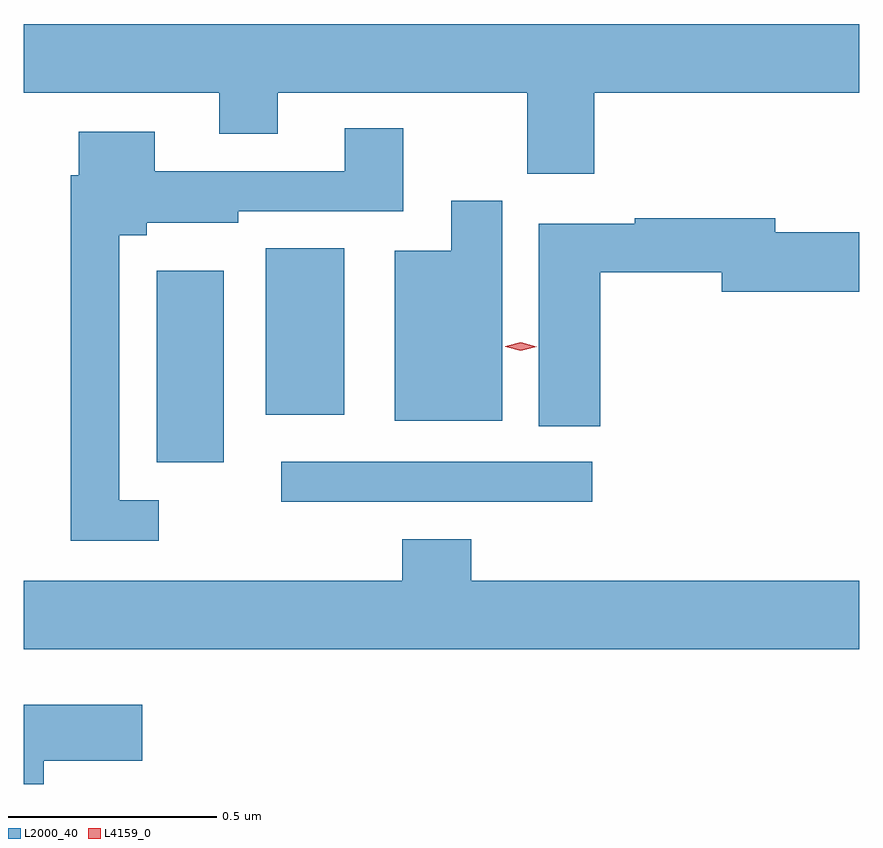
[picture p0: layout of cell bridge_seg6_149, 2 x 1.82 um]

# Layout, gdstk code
import gdstk
lib = gdstk.Library(unit=1e-6, precision=1e-09)
def R(c, l, rs):  # rectangles x0, y0, x1, y1
    for r in rs: c.add(gdstk.rectangle(r[:2], r[2:], *l))
def P(c, l, *ps):  # polygons
    for p in ps: c.add(gdstk.Polygon(p, *l))
L2000_40 = (2000, 40)
L4159_0 = (4159, 0)

bridge_seg6_149 = lib.new_cell('bridge_seg6_149')
R(bridge_seg6_149, L2000_40, [(610.509,963.672,611.254,963.768), (610.211,963.767,610.372,964.225), (610.472,963.881,610.66,964.279)])
P(bridge_seg6_149, L2000_40, [(609.893,964.652),(610.361,964.652),(610.361,964.553),(610.501,964.553),(610.501,964.652),(611.098,964.652),(611.098,964.458),(611.258,964.458),(611.258,964.652),(611.893,964.652),(611.893,964.816),(609.893,964.816)],
  [(610.216,963.676),(610.122,963.676),(610.122,964.31),(610.188,964.31),(610.188,964.34),(610.407,964.34),(610.407,964.368),(610.801,964.368),(610.801,964.567),(610.661,964.567),(610.661,964.464),(610.207,964.464),(610.207,964.558),(610.025,964.558),(610.025,964.454),(610.006,964.454),(610.006,963.579),(610.216,963.579)],
  [(611.038,964.393),(610.916,964.393),(610.916,964.273),(610.781,964.273),(610.781,963.866),(611.038,963.866)],
  [(611.273,964.222),(611.564,964.222),(611.564,964.175),(611.893,964.175),(611.893,964.317),(611.692,964.317),(611.692,964.351),(611.356,964.351),(611.356,964.338),(611.126,964.338),(611.126,963.853),(611.273,963.853)],
  [(611.893,963.484),(610.964,963.484),(610.964,963.583),(610.799,963.583),(610.799,963.484),(609.893,963.484),(609.893,963.32),(611.893,963.32)],
  [(609.941,963.053),(610.177,963.053),(610.177,963.187),(609.893,963.187),(609.893,962.997),(609.941,962.997)])
P(bridge_seg6_149, L4159_0, [(611.083,964.034),(611.045,964.044),(611.045,964.044),(611.045,964.045),(611.083,964.054),(611.121,964.044),(611.121,964.044),(611.121,964.044)])

lib.write_gds('bridge_seg6_149.gds')
